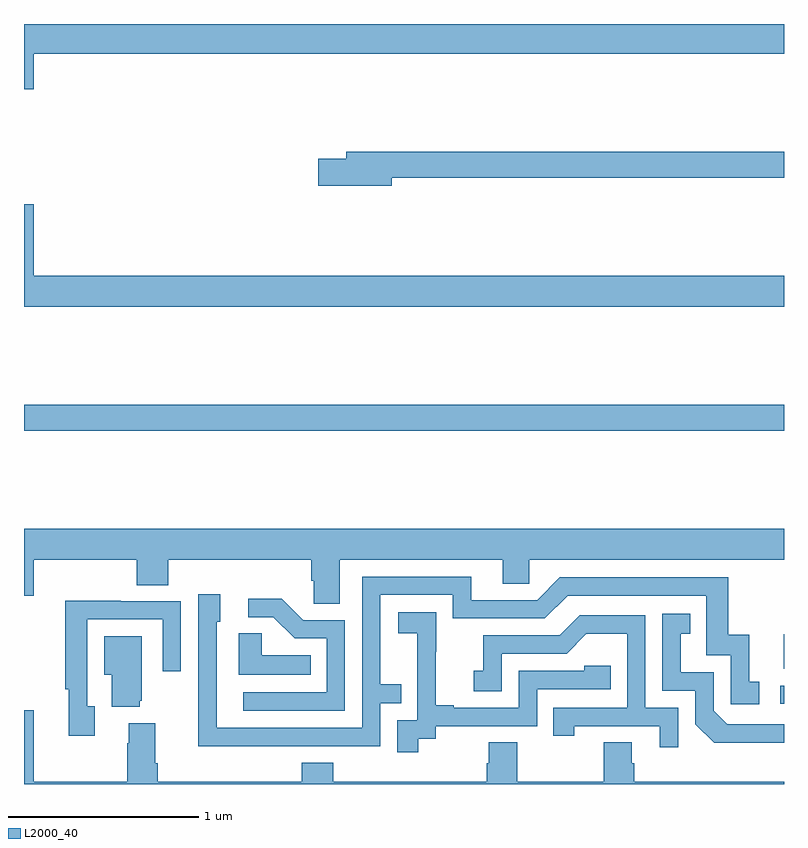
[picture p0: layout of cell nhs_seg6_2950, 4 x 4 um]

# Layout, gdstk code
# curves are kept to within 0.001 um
import gdstk
lib = gdstk.Library(unit=1e-6, precision=1e-09)
def R(c, l, rs):  # rectangles x0, y0, x1, y1
    for r in rs: c.add(gdstk.rectangle(r[:2], r[2:], *l))
def P(c, l, *ps):  # polygons
    for p in ps: c.add(gdstk.Polygon(p, *l))
L2000_40 = (2000, 40)

nhs_seg6_2950 = lib.new_cell('nhs_seg6_2950')
R(nhs_seg6_2950, L2000_40, [(288.981,935.922,289,936.018), (288.998,936.107,289,936.289), (285,937.36,289,937.496)])
P(nhs_seg6_2950, L2000_40, [(285.052,939.344),(289,939.344),(289,939.5),(285,939.5),(285,939.156),(285.052,939.156)],
  [(286.936,938.692),(289,938.692),(289,938.828),(286.697,938.828),(286.697,938.792),(286.548,938.792),(286.548,938.65),(286.936,938.65)],
  [(289,938.176),(285.052,938.176),(285.052,938.551),(285,938.551),(285,938.012),(289,938.012)],
  [(286.663,936.68),(287.519,936.68),(287.519,936.553),(287.658,936.553),(287.658,936.68),(289,936.68),(289,936.844),(285,936.844),(285,936.492),(285.052,936.492),(285.052,936.68),(285.593,936.68),(285.593,936.547),(285.758,936.547),(285.758,936.68),(286.511,936.68),(286.511,936.571),(286.524,936.571),(286.524,936.448),(286.663,936.448)],
  [(286.379,935.7),(286.875,935.7),(286.875,935.925),(286.985,935.925),(286.985,936.026),(286.875,936.026),(286.875,936.495),(287.256,936.495),(287.256,936.372),(287.742,936.372),(287.862,936.492),(288.591,936.492),(288.591,936.177),(288.72,936.177),(288.72,935.919),(288.871,935.919),(288.871,936.039),(288.818,936.039),(288.818,936.286),(288.707,936.286),(288.707,936.588),(287.82,936.588),(287.7,936.468),(287.353,936.468),(287.353,936.591),(286.779,936.591),(286.779,935.796),(286.014,935.796),(286.014,936.354),(286.033,936.354),(286.033,936.499),(285.918,936.499),(285.918,936.005),(285.916,936.005),(285.916,935.699)],
  [(286.689,936.363),(286.47,936.363),(286.357,936.476),(286.179,936.476),(286.179,936.378),(286.313,936.378),(286.424,936.267),(286.593,936.267),(286.593,935.982),(286.155,935.982),(286.155,935.886),(286.689,935.886)],
  [(285.373,935.91),(285.333,935.91),(285.333,936.366),(285.729,936.366),(285.729,936.093),(285.825,936.093),(285.825,936.462),(285.509,936.462),(285.509,936.464),(285.217,936.464),(285.217,935.998),(285.236,935.998),(285.236,935.754),(285.373,935.754)],
  [(287.074,935.737),(287.166,935.737),(287.166,935.805),(287.7,935.805),(287.7,936),(288.089,936),(288.089,936.123),(287.949,936.123),(287.949,936.096),(287.604,936.096),(287.604,935.901),(287.263,935.901),(287.263,935.914),(287.168,935.914),(287.168,936.197),(287.169,936.197),(287.169,936.403),(286.971,936.403),(286.971,936.293),(287.069,936.293),(287.069,936.065),(287.07,936.065),(287.07,935.835),(286.965,935.835),(286.965,935.667),(287.074,935.667)],
  [(289,935.814),(288.702,935.814),(288.63,935.886),(288.63,936.087),(288.457,936.087),(288.457,936.291),(288.506,936.291),(288.506,936.397),(288.36,936.397),(288.36,935.991),(288.534,935.991),(288.534,935.814),(288.632,935.717),(289,935.717)],
  [(288.444,935.901),(288.27,935.901),(288.27,936.387),(287.924,936.387),(287.819,936.282),(287.416,936.282),(287.416,936.097),(287.367,936.097),(287.367,935.988),(287.514,935.988),(287.514,936.186),(287.856,936.186),(287.96,936.29),(288.174,936.29),(288.174,935.901),(287.785,935.901),(287.785,935.754),(287.896,935.754),(287.896,935.805),(288.347,935.805),(288.347,935.694),(288.444,935.694)],
  [(286.508,936.178),(286.251,936.178),(286.251,936.293),(286.13,936.293),(286.13,936.074),(286.508,936.074)],
  [(285.608,935.937),(285.619,935.937),(285.619,936.277),(285.422,936.277),(285.422,936.074),(285.461,936.074),(285.461,935.906),(285.608,935.906)],
  [(289,935.512),(288.212,935.512),(288.212,935.61),(288.199,935.61),(288.199,935.72),(288.052,935.72),(288.052,935.512),(287.595,935.512),(287.595,935.72),(287.447,935.72),(287.447,935.61),(287.435,935.61),(287.435,935.512),(286.628,935.512),(286.628,935.611),(286.463,935.611),(286.463,935.512),(285.704,935.512),(285.704,935.608),(285.691,935.608),(285.691,935.821),(285.551,935.821),(285.551,935.714),(285.544,935.714),(285.544,935.512),(285.052,935.512),(285.052,935.887),(285,935.887),(285,935.5),(289,935.5)])

lib.write_gds('nhs_seg6_2950.gds')
